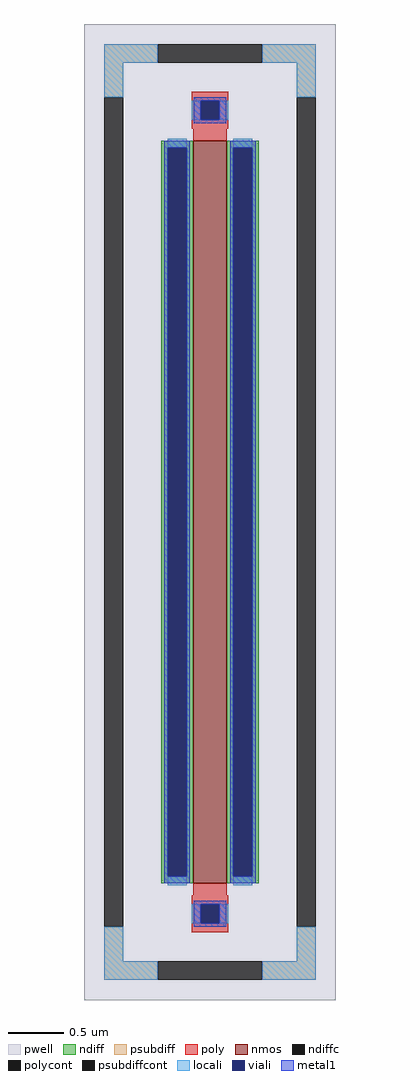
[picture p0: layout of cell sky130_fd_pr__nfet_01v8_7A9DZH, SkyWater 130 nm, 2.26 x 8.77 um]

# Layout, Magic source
magic
tech sky130A
magscale 1 2
<< pwell >>
rect -226 -877 226 877
<< nmos >>
rect -30 -667 30 667
<< ndiff >>
rect -88 655 -30 667
rect -88 -655 -76 655
rect -42 -655 -30 655
rect -88 -667 -30 -655
rect 30 655 88 667
rect 30 -655 42 655
rect 76 -655 88 655
rect 30 -667 88 -655
<< ndiffc >>
rect -76 -655 -42 655
rect 42 -655 76 655
<< psubdiff >>
rect -190 807 -94 841
rect 94 807 190 841
rect -190 745 -156 807
rect 156 745 190 807
rect -190 -807 -156 -745
rect 156 -807 190 -745
rect -190 -841 -94 -807
rect 94 -841 190 -807
<< psubdiffcont >>
rect -94 807 94 841
rect -190 -745 -156 745
rect 156 -745 190 745
rect -94 -841 94 -807
<< poly >>
rect -33 739 33 755
rect -33 705 -17 739
rect 17 705 33 739
rect -33 689 33 705
rect -30 667 30 689
rect -30 -689 30 -667
rect -33 -705 33 -689
rect -33 -739 -17 -705
rect 17 -739 33 -705
rect -33 -755 33 -739
<< polycont >>
rect -17 705 17 739
rect -17 -739 17 -705
<< locali >>
rect -190 807 -94 841
rect 94 807 190 841
rect -190 745 -156 807
rect 156 745 190 807
rect -33 705 -17 739
rect 17 705 33 739
rect -76 655 -42 671
rect -76 -671 -42 -655
rect 42 655 76 671
rect 42 -671 76 -655
rect -33 -739 -17 -705
rect 17 -739 33 -705
rect -190 -807 -156 -745
rect 156 -807 190 -745
rect -190 -841 -94 -807
rect 94 -841 190 -807
<< viali >>
rect -17 705 17 739
rect -76 -655 -42 655
rect 42 -655 76 655
rect -17 -739 17 -705
<< metal1 >>
rect -29 739 29 745
rect -29 705 -17 739
rect 17 705 29 739
rect -29 699 29 705
rect -82 655 -36 667
rect -82 -655 -76 655
rect -42 -655 -36 655
rect -82 -667 -36 -655
rect 36 655 82 667
rect 36 -655 42 655
rect 76 -655 82 655
rect 36 -667 82 -655
rect -29 -705 29 -699
rect -29 -739 -17 -705
rect 17 -739 29 -705
rect -29 -745 29 -739
<< properties >>
string FIXED_BBOX -173 -824 173 824
string gencell sky130_fd_pr__nfet_01v8
string library sky130
string parameters w 6.67 l 0.3 m 1 nf 1 diffcov 100 polycov 100 guard 1 glc 1 grc 1 gtc 1 gbc 1 tbcov 100 rlcov 100 topc 1 botc 1 poverlap 0 doverlap 1 lmin 0.15 wmin 0.42 compatible {sky130_fd_pr__nfet_01v8 sky130_fd_pr__nfet_01v8_lvt  sky130_fd_bs_flash__special_sonosfet_star  sky130_fd_pr__nfet_g5v0d10v5 sky130_fd_pr__nfet_05v0_nvt  sky130_fd_pr__nfet_03v3_nvt} full_metal 1 viasrc 100 viadrn 100 viagate 100 viagb 0 viagr 0 viagl 0 viagt 0
<< end >>
